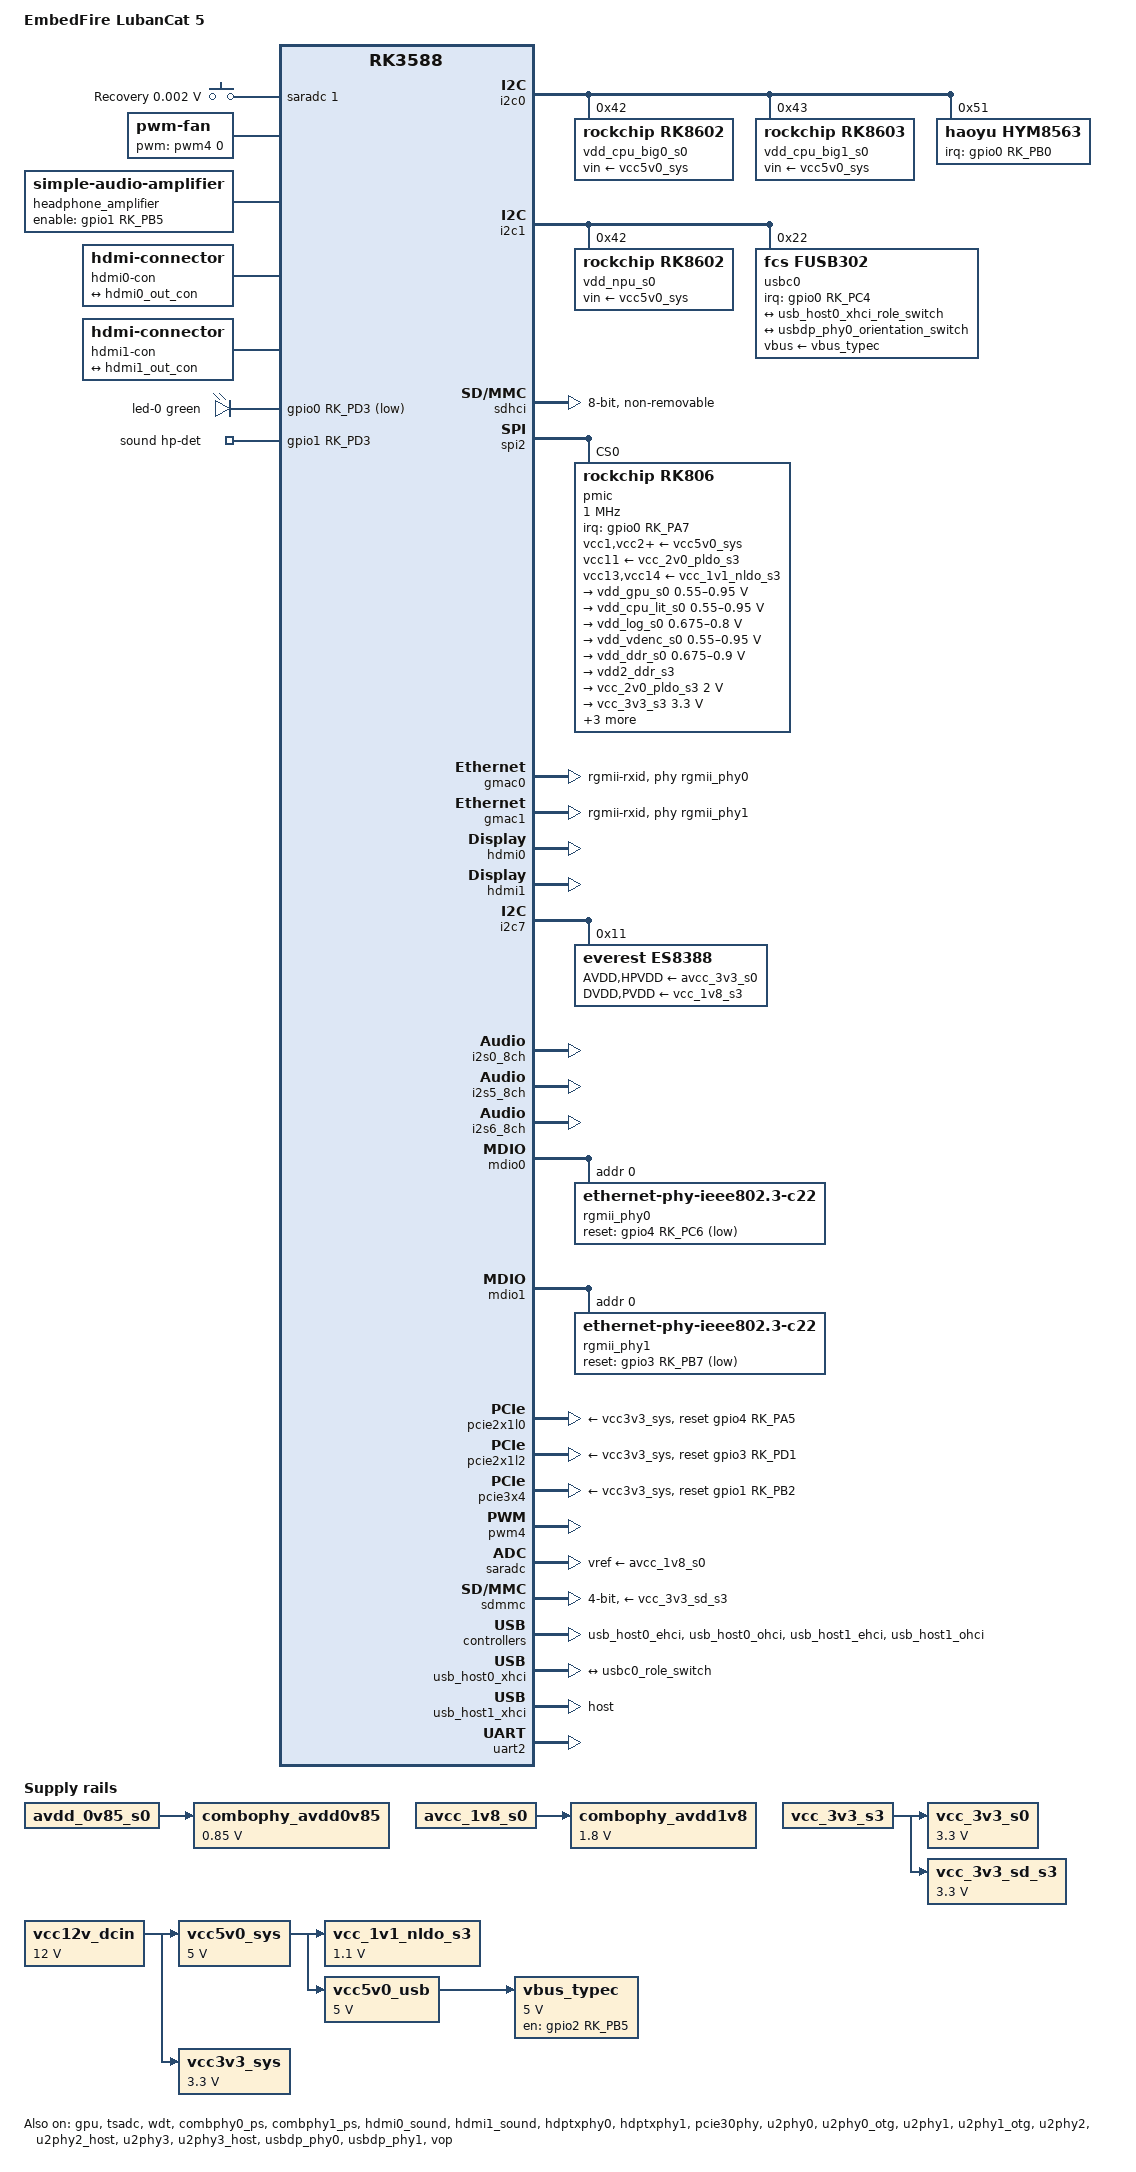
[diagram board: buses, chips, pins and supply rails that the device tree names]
// SPDX-License-Identifier: (GPL-2.0+ OR MIT)
/*
 * Copyright (c) 2021 Rockchip Electronics Co., Ltd.
 * Copyright (c) 2023 EmbedFire <embedfire@embedfire.com>
 * Copyright (c) 2025 Cunhao Lu <1579567540@qq.com>
 * Copyright (c) 2026 zixiai <78121660+zixiai@users.noreply.github.com>
 *
 * Board wiring is based on EmbedFire's LubanCat 5 BSP device tree and
 * the upstream LubanCat 5 BTB device-tree description.
 */

/dts-v1/;

#include <dt-bindings/gpio/gpio.h>
#include <dt-bindings/input/input.h>
#include <dt-bindings/leds/common.h>
#include <dt-bindings/soc/rockchip,vop2.h>
#include <dt-bindings/usb/pd.h>
#include "rk3588.dtsi"
/* BEGIN LUBANCAT-5 V1 BTB BACKPORT */
/*
 * This inlined section is derived from the Linux rockchip
 * rk3588-lubancat-5-btb.dtsi reference pinned by the FnNAS LubanCat-5
 * build metadata.  The standalone V1 carrier supplies the BTB core from
 * vcc5v0_sys.
 */
/ {

	aliases {
		mmc0 = &sdhci;
	};

	combophy_avdd0v85: regulator-combophy-avdd0v85 {
		compatible = "regulator-fixed";
		regulator-boot-on;
		regulator-max-microvolt = <850000>;
		regulator-min-microvolt = <850000>;
		regulator-name = "combophy_avdd0v85";
		vin-supply = <&avdd_0v85_s0>;
	};

	combophy_avdd1v8: regulator-combophy-avdd1v8 {
		compatible = "regulator-fixed";
		regulator-boot-on;
		regulator-max-microvolt = <1800000>;
		regulator-min-microvolt = <1800000>;
		regulator-name = "combophy_avdd1v8";
		vin-supply = <&avcc_1v8_s0>;
	};

	vcc_1v1_nldo_s3: regulator-vcc-1v1-nldo-s3 {
		compatible = "regulator-fixed";
		regulator-always-on;
		regulator-boot-on;
		regulator-max-microvolt = <1100000>;
		regulator-min-microvolt = <1100000>;
		regulator-name = "vcc_1v1_nldo_s3";
		vin-supply = <&vcc5v0_sys>;
	};
};

&cpu_b0 {
	cpu-supply = <&vdd_cpu_big0_s0>;
};

&cpu_b1 {
	cpu-supply = <&vdd_cpu_big0_s0>;
};

&cpu_b2 {
	cpu-supply = <&vdd_cpu_big1_s0>;
};

&cpu_b3 {
	cpu-supply = <&vdd_cpu_big1_s0>;
};

&cpu_l0 {
	cpu-supply = <&vdd_cpu_lit_s0>;
};

&cpu_l1 {
	cpu-supply = <&vdd_cpu_lit_s0>;
};

&cpu_l2 {
	cpu-supply = <&vdd_cpu_lit_s0>;
};

&cpu_l3 {
	cpu-supply = <&vdd_cpu_lit_s0>;
};

&gpu {
	mali-supply = <&vdd_gpu_s0>;
	status = "okay";
};

&i2c0 {
	pinctrl-0 = <&i2c0m2_xfer>;
	pinctrl-names = "default";
	status = "okay";

	vdd_cpu_big0_s0: regulator@42 {
		compatible = "rockchip,rk8602";
		reg = <0x42>;
		regulator-always-on;
		regulator-boot-on;
		regulator-max-microvolt = <1050000>;
		regulator-min-microvolt = <550000>;
		regulator-name = "vdd_cpu_big0_s0";
		regulator-ramp-delay = <2300>;
		vin-supply = <&vcc5v0_sys>;
		fcs,suspend-voltage-selector = <1>;

		regulator-state-mem {
			regulator-off-in-suspend;
		};
	};

	vdd_cpu_big1_s0: regulator@43 {
		compatible = "rockchip,rk8603", "rockchip,rk8602";
		reg = <0x43>;
		regulator-always-on;
		regulator-boot-on;
		regulator-max-microvolt = <1050000>;
		regulator-min-microvolt = <550000>;
		regulator-name = "vdd_cpu_big1_s0";
		regulator-ramp-delay = <2300>;
		vin-supply = <&vcc5v0_sys>;
		fcs,suspend-voltage-selector = <1>;

		regulator-state-mem {
			regulator-off-in-suspend;
		};
	};
};

&i2c1 {
	pinctrl-0 = <&i2c1m2_xfer>;
	pinctrl-names = "default";
	status = "okay";

	vdd_npu_s0: regulator@42 {
		compatible = "rockchip,rk8602";
		reg = <0x42>;
		regulator-boot-on;
		regulator-max-microvolt = <950000>;
		regulator-min-microvolt = <550000>;
		regulator-name = "vdd_npu_s0";
		regulator-ramp-delay = <2300>;
		vin-supply = <&vcc5v0_sys>;
		fcs,suspend-voltage-selector = <1>;

		regulator-state-mem {
			regulator-off-in-suspend;
		};
	};
};

&pd_gpu {
	domain-supply = <&vdd_gpu_s0>;
};

&pd_npu {
	domain-supply = <&vdd_npu_s0>;
};

&sdhci {
	bus-width = <8>;
	max-frequency = <200000000>;
	mmc-hs400-1_8v;
	mmc-hs400-enhanced-strobe;
	no-sd;
	no-sdio;
	non-removable;
	status = "okay";
};

&sfc {
	status = "disabled";
};

&spi2 {
	assigned-clock-rates = <200000000>;
	assigned-clocks = <&cru CLK_SPI2>;
	num-cs = <1>;
	pinctrl-0 = <&spi2m2_cs0 &spi2m2_pins>;
	pinctrl-names = "default";
	status = "okay";

	pmic@0 {
		compatible = "rockchip,rk806";
		reg = <0x0>;
		#gpio-cells = <2>;
		gpio-controller;
		interrupt-parent = <&gpio0>;
		interrupts = <RK_PA7 IRQ_TYPE_LEVEL_LOW>;
		pinctrl-0 = <&pmic_pins>, <&rk806_dvs1_null>,
			    <&rk806_dvs2_null>, <&rk806_dvs3_null>;
		pinctrl-names = "default";
		spi-max-frequency = <1000000>;
		system-power-controller;

		vcc1-supply = <&vcc5v0_sys>;
		vcc2-supply = <&vcc5v0_sys>;
		vcc3-supply = <&vcc5v0_sys>;
		vcc4-supply = <&vcc5v0_sys>;
		vcc5-supply = <&vcc5v0_sys>;
		vcc6-supply = <&vcc5v0_sys>;
		vcc7-supply = <&vcc5v0_sys>;
		vcc8-supply = <&vcc5v0_sys>;
		vcc9-supply = <&vcc5v0_sys>;
		vcc10-supply = <&vcc5v0_sys>;
		vcc11-supply = <&vcc_2v0_pldo_s3>;
		vcc12-supply = <&vcc5v0_sys>;
		vcc13-supply = <&vcc_1v1_nldo_s3>;
		vcc14-supply = <&vcc_1v1_nldo_s3>;
		vcca-supply = <&vcc5v0_sys>;

		rk806_dvs1_null: dvs1-null-pins {
			function = "pin_fun0";
			pins = "gpio_pwrctrl1";
		};

		rk806_dvs2_null: dvs2-null-pins {
			function = "pin_fun0";
			pins = "gpio_pwrctrl2";
		};

		rk806_dvs3_null: dvs3-null-pins {
			function = "pin_fun0";
			pins = "gpio_pwrctrl3";
		};

		regulators {
			vdd_gpu_s0: vdd_gpu_mem_s0: dcdc-reg1 {
				regulator-boot-on;
				regulator-enable-ramp-delay = <400>;
				regulator-max-microvolt = <950000>;
				regulator-min-microvolt = <550000>;
				regulator-name = "vdd_gpu_s0";
				regulator-ramp-delay = <12500>;

				regulator-state-mem {
					regulator-off-in-suspend;
				};
			};

			vdd_cpu_lit_s0: dcdc-reg2 {
				regulator-always-on;
				regulator-boot-on;
				regulator-max-microvolt = <950000>;
				regulator-min-microvolt = <550000>;
				regulator-name = "vdd_cpu_lit_s0";
				regulator-ramp-delay = <12500>;

				regulator-state-mem {
					regulator-off-in-suspend;
				};
			};

			vdd_log_s0: dcdc-reg3 {
				regulator-always-on;
				regulator-boot-on;
				regulator-max-microvolt = <800000>;
				regulator-min-microvolt = <675000>;
				regulator-name = "vdd_log_s0";
				regulator-ramp-delay = <12500>;

				regulator-state-mem {
					regulator-off-in-suspend;
					regulator-suspend-microvolt = <750000>;
				};
			};

			vdd_vdenc_s0: vdd_vdenc_mem_s0: dcdc-reg4 {
				regulator-always-on;
				regulator-boot-on;
				regulator-max-microvolt = <950000>;
				regulator-min-microvolt = <550000>;
				regulator-name = "vdd_vdenc_s0";
				regulator-ramp-delay = <12500>;

				regulator-state-mem {
					regulator-off-in-suspend;
				};
			};

			vdd_ddr_s0: dcdc-reg5 {
				regulator-always-on;
				regulator-boot-on;
				regulator-max-microvolt = <900000>;
				regulator-min-microvolt = <675000>;
				regulator-name = "vdd_ddr_s0";
				regulator-ramp-delay = <12500>;

				regulator-state-mem {
					regulator-off-in-suspend;
					regulator-suspend-microvolt = <850000>;
				};
			};

			vdd2_ddr_s3: dcdc-reg6 {
				regulator-always-on;
				regulator-boot-on;
				regulator-name = "vdd2_ddr_s3";

				regulator-state-mem {
					regulator-on-in-suspend;
				};
			};

			vcc_2v0_pldo_s3: dcdc-reg7 {
				regulator-always-on;
				regulator-boot-on;
				regulator-max-microvolt = <2000000>;
				regulator-min-microvolt = <2000000>;
				regulator-name = "vcc_2v0_pldo_s3";
				regulator-ramp-delay = <12500>;

				regulator-state-mem {
					regulator-on-in-suspend;
					regulator-suspend-microvolt = <2000000>;
				};
			};

			vcc_3v3_s3: dcdc-reg8 {
				regulator-always-on;
				regulator-boot-on;
				regulator-max-microvolt = <3300000>;
				regulator-min-microvolt = <3300000>;
				regulator-name = "vcc_3v3_s3";

				regulator-state-mem {
					regulator-on-in-suspend;
					regulator-suspend-microvolt = <3300000>;
				};
			};

			vddq_ddr_s0: dcdc-reg9 {
				regulator-always-on;
				regulator-boot-on;
				regulator-name = "vddq_ddr_s0";

				regulator-state-mem {
					regulator-off-in-suspend;
				};
			};

			vcc_1v8_s3: dcdc-reg10 {
				regulator-always-on;
				regulator-boot-on;
				regulator-max-microvolt = <1800000>;
				regulator-min-microvolt = <1800000>;
				regulator-name = "vcc_1v8_s3";

				regulator-state-mem {
					regulator-on-in-suspend;
					regulator-suspend-microvolt = <1800000>;
				};
			};

			vdd_0v75_s3: nldo-reg1 {
				regulator-always-on;
				regulator-boot-on;
				regulator-max-microvolt = <750000>;
				regulator-min-microvolt = <750000>;
				regulator-name = "vdd_0v75_s3";

				regulator-state-mem {
					regulator-on-in-suspend;
					regulator-suspend-microvolt = <750000>;
				};
			};

			avdd_ddr_pll_s0: nldo-reg2 {
				regulator-always-on;
				regulator-boot-on;
				regulator-max-microvolt = <850000>;
				regulator-min-microvolt = <850000>;
				regulator-name = "avdd_ddr_pll_s0";

				regulator-state-mem {
					regulator-off-in-suspend;
					regulator-suspend-microvolt = <850000>;
				};
			};

			avdd_0v75_s0: nldo-reg3 {
				regulator-always-on;
				regulator-boot-on;
				regulator-max-microvolt = <837500>;
				regulator-min-microvolt = <837500>;
				regulator-name = "avdd_0v75_s0";

				regulator-state-mem {
					regulator-off-in-suspend;
				};
			};

			avdd_0v85_s0: nldo-reg4 {
				regulator-always-on;
				regulator-boot-on;
				regulator-max-microvolt = <850000>;
				regulator-min-microvolt = <850000>;
				regulator-name = "avdd_0v85_s0";

				regulator-state-mem {
					regulator-off-in-suspend;
				};
			};

			vdd_0v75_s0: nldo-reg5 {
				regulator-always-on;
				regulator-boot-on;
				regulator-max-microvolt = <750000>;
				regulator-min-microvolt = <750000>;
				regulator-name = "vdd_0v75_s0";

				regulator-state-mem {
					regulator-off-in-suspend;
				};
			};

			avcc_1v8_s0: pldo-reg1 {
				regulator-always-on;
				regulator-boot-on;
				regulator-max-microvolt = <1800000>;
				regulator-min-microvolt = <1800000>;
				regulator-name = "avcc_1v8_s0";

				regulator-state-mem {
					regulator-on-in-suspend;
					regulator-suspend-microvolt = <1800000>;
				};
			};

			vcc_1v8_s0: pldo-reg2 {
				regulator-always-on;
				regulator-boot-on;
				regulator-max-microvolt = <1800000>;
				regulator-min-microvolt = <1800000>;
				regulator-name = "vcc_1v8_s0";

				regulator-state-mem {
					regulator-off-in-suspend;
					regulator-suspend-microvolt = <1800000>;
				};
			};

			avdd_1v2_s0: pldo-reg3 {
				regulator-always-on;
				regulator-boot-on;
				regulator-max-microvolt = <1200000>;
				regulator-min-microvolt = <1200000>;
				regulator-name = "avdd_1v2_s0";

				regulator-state-mem {
					regulator-off-in-suspend;
				};
			};

			avcc_3v3_s0: pldo-reg4 {
				regulator-always-on;
				regulator-boot-on;
				regulator-max-microvolt = <3300000>;
				regulator-min-microvolt = <3300000>;
				regulator-name = "avcc_3v3_s0";
				regulator-ramp-delay = <12500>;

				regulator-state-mem {
					regulator-off-in-suspend;
				};
			};

			vccio_sd_s0: pldo-reg5 {
				regulator-always-on;
				regulator-boot-on;
				regulator-max-microvolt = <3300000>;
				regulator-min-microvolt = <1800000>;
				regulator-name = "vccio_sd_s0";
				regulator-ramp-delay = <12500>;

				regulator-state-mem {
					regulator-off-in-suspend;
				};
			};

			pldo6_s3: pldo-reg6 {
				regulator-always-on;
				regulator-boot-on;
				regulator-max-microvolt = <1800000>;
				regulator-min-microvolt = <1800000>;
				regulator-name = "pldo6_s3";

				regulator-state-mem {
					regulator-on-in-suspend;
					regulator-suspend-microvolt = <1800000>;
				};
			};
		};
	};
};

&tsadc {
	status = "okay";
};

&wdt {
	status = "okay";
};
/* END LUBANCAT-5 V1 BTB BACKPORT */

#include "rk3588s-ip.dtsi"
#include "rk3588s-ip-supply.dtsi"

/ {
	model = "EmbedFire LubanCat 5";
	compatible = "embedfire,lubancat-5", "embedfire,lubancat-5-btb",
		     "rockchip,rk3588";

	aliases {
		ethernet0 = &gmac0;
		ethernet1 = &gmac1;
		mmc1 = &sdmmc;
		rtc0 = &hym8563;
		serial2 = &uart2;
	};

	chosen {
		stdout-path = "serial2:1500000n8";
	};

	adc-keys {
		compatible = "adc-keys";
		io-channels = <&saradc 1>;
		io-channel-names = "buttons";
		keyup-threshold-microvolt = <1800000>;
		poll-interval = <100>;

		button-recovery {
			label = "Recovery";
			linux,code = <KEY_VENDOR>;
			press-threshold-microvolt = <1750>;
		};
	};

	/*
	 * PWM4 M0 matches the LubanCat V1 wiring.  The period, levels and
	 * start pulse are based on V1 hardware tests with its two-wire fan.
	 * Minimum starting duty and speed response may vary between fans.
	 */
	fan: pwm-fan {
		compatible = "pwm-fan";
		#cooling-cells = <2>;
		cooling-levels = <0 130 160 190 200>;
		fan-stop-to-start-percent = <79>;
		fan-stop-to-start-us = <200000>;
		pwms = <&pwm4 0 50000 0>;
	};

	headphone_amplifier: headphone-amplifier {
		compatible = "simple-audio-amplifier";
		enable-gpios = <&gpio1 RK_PB5 GPIO_ACTIVE_HIGH>;
		pinctrl-0 = <&headphone_amp_enable>;
		pinctrl-names = "default";
		sound-name-prefix = "Headphone Amplifier";
	};

	hdmi0-con {
		compatible = "hdmi-connector";
		type = "a";

		port {
			hdmi0_con_in: endpoint {
				remote-endpoint = <&hdmi0_out_con>;
			};
		};
	};

	hdmi1-con {
		compatible = "hdmi-connector";
		type = "a";

		port {
			hdmi1_con_in: endpoint {
				remote-endpoint = <&hdmi1_out_con>;
			};
		};
	};

	leds {
		compatible = "gpio-leds";
		pinctrl-0 = <&sys_led_pin>;
		pinctrl-names = "default";

		led-0 {
			color = <LED_COLOR_ID_GREEN>;
			function = LED_FUNCTION_STATUS;
			gpios = <&gpio0 RK_PD3 GPIO_ACTIVE_LOW>;
			linux,default-trigger = "heartbeat";
		};
	};

	sound {
		compatible = "simple-audio-card";
		pinctrl-0 = <&headphone_detect>;
		pinctrl-names = "default";
		simple-audio-card,aux-devs = <&headphone_amplifier>;
		simple-audio-card,format = "i2s";
		simple-audio-card,hp-det-gpios =
			<&gpio1 RK_PD3 GPIO_ACTIVE_HIGH>;
		simple-audio-card,mclk-fs = <256>;
		simple-audio-card,name = "rk3588-es8388";
		simple-audio-card,pin-switches = "Headphones", "Main Mic",
						 "Headset Mic";
		simple-audio-card,routing =
			"Headphone Amplifier INL", "LOUT1",
			"Headphone Amplifier INR", "ROUT1",
			"Headphones", "Headphone Amplifier OUTL",
			"Headphones", "Headphone Amplifier OUTR",
			"LINPUT1", "Main Mic",
			"LINPUT2", "Main Mic",
			"RINPUT1", "Headset Mic",
			"RINPUT2", "Headset Mic";
		simple-audio-card,widgets =
			"Microphone", "Main Mic",
			"Microphone", "Headset Mic",
			"Headphone", "Headphones";

		simple-audio-card,cpu {
			sound-dai = <&i2s0_8ch>;
		};

		simple-audio-card,codec {
			sound-dai = <&es8388>;
			system-clock-frequency = <12288000>;
		};
	};

	vcc12v_dcin: regulator-vcc12v-dcin {
		compatible = "regulator-fixed";
		regulator-always-on;
		regulator-boot-on;
		regulator-max-microvolt = <12000000>;
		regulator-min-microvolt = <12000000>;
		regulator-name = "vcc12v_dcin";
	};

	vcc5v0_sys: regulator-vcc5v0-sys {
		compatible = "regulator-fixed";
		regulator-always-on;
		regulator-boot-on;
		regulator-max-microvolt = <5000000>;
		regulator-min-microvolt = <5000000>;
		regulator-name = "vcc5v0_sys";
		vin-supply = <&vcc12v_dcin>;
	};

	vcc3v3_sys: regulator-vcc3v3-sys {
		compatible = "regulator-fixed";
		regulator-always-on;
		regulator-boot-on;
		regulator-max-microvolt = <3300000>;
		regulator-min-microvolt = <3300000>;
		regulator-name = "vcc3v3_sys";
		vin-supply = <&vcc12v_dcin>;
	};

	vcc5v0_usb: regulator-vcc5v0-usb {
		compatible = "regulator-fixed";
		regulator-always-on;
		regulator-boot-on;
		regulator-max-microvolt = <5000000>;
		regulator-min-microvolt = <5000000>;
		regulator-name = "vcc5v0_usb";
		vin-supply = <&vcc5v0_sys>;
	};

	vbus_typec: regulator-vbus-typec {
		compatible = "regulator-fixed";
		enable-active-high;
		gpios = <&gpio2 RK_PB5 GPIO_ACTIVE_HIGH>;
		pinctrl-0 = <&typec_vbus_enable>;
		pinctrl-names = "default";
		regulator-max-microvolt = <5000000>;
		regulator-min-microvolt = <5000000>;
		regulator-name = "vbus_typec";
		vin-supply = <&vcc5v0_usb>;
	};

	vcc_3v3_s0: regulator-vcc-3v3-s0 {
		compatible = "regulator-fixed";
		regulator-always-on;
		regulator-boot-on;
		regulator-max-microvolt = <3300000>;
		regulator-min-microvolt = <3300000>;
		regulator-name = "vcc_3v3_s0";
		vin-supply = <&vcc_3v3_s3>;
	};

	vcc_3v3_sd_s3: regulator-vcc-3v3-sd-s3 {
		compatible = "regulator-fixed";
		regulator-always-on;
		regulator-boot-on;
		regulator-max-microvolt = <3300000>;
		regulator-min-microvolt = <3300000>;
		regulator-name = "vcc_3v3_sd_s3";
		vin-supply = <&vcc_3v3_s3>;
	};
};

&rkvenc1_mmu {
	/delete-property/ lock-names;
	clock-names = "aclk", "iface";
};

/* The packaged kernel does not provide an RK3588 crypto driver. */
&crypto {
	status = "disabled";
};

/* Reuse the base SRAM pools instead of overlapping BSP duplicates. */
&system_sram2 {
	/delete-node/ rkvdec-sram@0;
	/delete-node/ rkvdec-sram@78000;
};

&rkvdec0 {
	rockchip,sram = <&vdec0_sram>;
};

&rkvdec1 {
	rockchip,sram = <&vdec1_sram>;
};

&combphy0_ps {
	status = "okay";
};

&combphy1_ps {
	status = "okay";
};

&gmac0 {
	clock_in_out = "output";
	phy-handle = <&rgmii_phy0>;
	/* The PHY supplies RX delay; the controller supplies the TX delay. */
	phy-mode = "rgmii-rxid";
	pinctrl-0 = <&gmac0_miim &gmac0_tx_bus2 &gmac0_rx_bus2
		     &gmac0_rgmii_clk &gmac0_rgmii_bus>;
	pinctrl-names = "default";
	tx_delay = <0x20>;
	status = "okay";
};

&gmac1 {
	clock_in_out = "output";
	phy-handle = <&rgmii_phy1>;
	/* The PHY supplies RX delay; the controller supplies the TX delay. */
	phy-mode = "rgmii-rxid";
	pinctrl-0 = <&gmac1_miim &gmac1_tx_bus2 &gmac1_rx_bus2
		     &gmac1_rgmii_clk &gmac1_rgmii_bus>;
	pinctrl-names = "default";
	tx_delay = <0x20>;
	status = "okay";
};

&hdmi0 {
	frl-enable-gpios = <&gpio1 RK_PC4 GPIO_ACTIVE_LOW>;
	pinctrl-0 = <&hdmim0_tx0_cec &hdmim0_tx0_hpd
		    &hdmim0_tx0_scl &hdmim0_tx0_sda>;
	pinctrl-names = "default";
	status = "okay";
};

&hdmi0_in {
	hdmi0_in_vp0: endpoint {
		remote-endpoint = <&vp0_out_hdmi0>;
	};
};

&hdmi0_out {
	hdmi0_out_con: endpoint {
		remote-endpoint = <&hdmi0_con_in>;
	};
};

&hdmi0_sound {
	status = "okay";
};

&hdmi1 {
	frl-enable-gpios = <&gpio1 RK_PC6 GPIO_ACTIVE_LOW>;
	status = "okay";
};

&hdmi1_in {
	hdmi1_in_vp1: endpoint {
		remote-endpoint = <&vp1_out_hdmi1>;
	};
};

&hdmi1_out {
	hdmi1_out_con: endpoint {
		remote-endpoint = <&hdmi1_con_in>;
	};
};

&hdmi1_sound {
	status = "okay";
};

&hdptxphy0 {
	status = "okay";
};

&hdptxphy1 {
	status = "okay";
};

&i2c0 {
	hym8563: rtc@51 {
		compatible = "haoyu,hym8563";
		reg = <0x51>;
		#clock-cells = <0>;
		clock-output-names = "hym8563";
		interrupt-parent = <&gpio0>;
		interrupts = <RK_PB0 IRQ_TYPE_LEVEL_LOW>;
		pinctrl-0 = <&hym8563_int>;
		pinctrl-names = "default";
		wakeup-source;
	};
};

&i2c1 {
	status = "okay";

	usbc0: usb-typec@22 {
		compatible = "fcs,fusb302";
		reg = <0x22>;
		interrupt-parent = <&gpio0>;
		interrupts = <RK_PC4 IRQ_TYPE_LEVEL_LOW>;
		pinctrl-0 = <&usbc0_interrupt>;
		pinctrl-names = "default";
		vbus-supply = <&vbus_typec>;

		connector {
			compatible = "usb-c-connector";
			data-role = "dual";
			label = "USB-C";
			op-sink-microwatt = <1000000>;
			power-role = "dual";
			sink-pdos = <PDO_FIXED(5000, 1000, PDO_FIXED_USB_COMM)>;
			source-pdos = <PDO_FIXED(5000, 3000, PDO_FIXED_USB_COMM)>;
			try-power-role = "sink";

			ports {
				#address-cells = <1>;
				#size-cells = <0>;

				port@0 {
					reg = <0>;

					usbc0_role_switch: endpoint {
						remote-endpoint = <&usb_host0_xhci_role_switch>;
					};
				};

				port@1 {
					reg = <1>;

					usbc0_orientation_switch: endpoint {
						remote-endpoint = <&usbdp_phy0_orientation_switch>;
					};
				};
			};
		};
	};
};

&i2c7 {
	pinctrl-0 = <&i2c7m0_xfer>;
	pinctrl-names = "default";
	status = "okay";

	es8388: audio-codec@11 {
		compatible = "everest,es8388", "everest,es8328";
		reg = <0x11>;
		AVDD-supply = <&avcc_3v3_s0>;
		DVDD-supply = <&vcc_1v8_s3>;
		HPVDD-supply = <&avcc_3v3_s0>;
		PVDD-supply = <&vcc_1v8_s3>;
		assigned-clock-rates = <12288000>;
		assigned-clocks = <&cru I2S0_8CH_MCLKOUT_TO_IO>;
		clocks = <&cru I2S0_8CH_MCLKOUT_TO_IO>;
		#sound-dai-cells = <0>;
	};
};

&i2s0_8ch {
	pinctrl-0 = <&i2s0_lrck
		    &i2s0_mclk
		    &i2s0_sclk
		    &i2s0_sdi0
		    &i2s0_sdo0>;
	pinctrl-names = "default";
	status = "okay";
};

&i2s5_8ch {
	status = "okay";
};

&i2s6_8ch {
	status = "okay";
};

&mdio0 {
	rgmii_phy0: ethernet-phy@0 {
		compatible = "ethernet-phy-ieee802.3-c22";
		reg = <0>;
		reset-assert-us = <20000>;
		reset-deassert-us = <100000>;
		reset-gpios = <&gpio4 RK_PC6 GPIO_ACTIVE_LOW>;
	};
};

&mdio1 {
	rgmii_phy1: ethernet-phy@0 {
		compatible = "ethernet-phy-ieee802.3-c22";
		reg = <0>;
		reset-assert-us = <20000>;
		reset-deassert-us = <100000>;
		reset-gpios = <&gpio3 RK_PB7 GPIO_ACTIVE_LOW>;
	};
};

/* M.2 E-Key (Wi-Fi/BT). */
&pcie2x1l0 {
	reset-gpios = <&gpio4 RK_PA5 GPIO_ACTIVE_HIGH>;
	vpcie3v3-supply = <&vcc3v3_sys>;
	status = "okay";
};

/* Mini-PCIe. */
&pcie2x1l2 {
	reset-gpios = <&gpio3 RK_PD1 GPIO_ACTIVE_HIGH>;
	vpcie3v3-supply = <&vcc3v3_sys>;
	status = "okay";
};

&pcie30phy {
	data-lanes = <1 1 1 1>;
	status = "okay";
};

/* M.2 M-Key (NVMe). */
&pcie3x4 {
	reset-gpios = <&gpio1 RK_PB2 GPIO_ACTIVE_HIGH>;
	vpcie3v3-supply = <&vcc3v3_sys>;
	status = "okay";
};

&package_thermal {
	polling-delay = <1000>;

	trips {
		package_fan0: package-fan0 {
			temperature = <40000>;
			hysteresis = <3000>;
			type = "active";
		};

		package_fan1: package-fan1 {
			temperature = <50000>;
			hysteresis = <3000>;
			type = "active";
		};

		package_fan2: package-fan2 {
			temperature = <60000>;
			hysteresis = <3000>;
			type = "active";
		};

		package_fan3: package-fan3 {
			temperature = <70000>;
			hysteresis = <3000>;
			type = "active";
		};
	};

	cooling-maps {
		map0 {
			trip = <&package_fan0>;
			cooling-device = <&fan 1 1>;
		};

		map1 {
			trip = <&package_fan1>;
			cooling-device = <&fan 2 2>;
		};

		map2 {
			trip = <&package_fan2>;
			cooling-device = <&fan 3 3>;
		};

		map3 {
			trip = <&package_fan3>;
			cooling-device = <&fan 4 4>;
		};
	};
};

&pinctrl {
	audio {
		headphone_amp_enable: headphone-amp-enable {
			rockchip,pins = <1 RK_PB5 RK_FUNC_GPIO &pcfg_pull_none>;
		};

		headphone_detect: headphone-detect {
			rockchip,pins = <1 RK_PD3 RK_FUNC_GPIO &pcfg_pull_none>;
		};
	};

	hym8563 {
		hym8563_int: hym8563-int {
			rockchip,pins = <0 RK_PB0 RK_FUNC_GPIO &pcfg_pull_up>;
		};
	};

	leds {
		sys_led_pin: sys-led-pin {
			rockchip,pins = <0 RK_PD3 RK_FUNC_GPIO &pcfg_pull_none>;
		};
	};

	usb-typec {
		typec_vbus_enable: typec-vbus-enable {
			rockchip,pins = <2 RK_PB5 RK_FUNC_GPIO &pcfg_pull_none>;
		};

		usbc0_interrupt: usbc0-interrupt {
			rockchip,pins = <0 RK_PC4 RK_FUNC_GPIO &pcfg_pull_up>;
		};
	};
};

&pwm4 {
	pinctrl-0 = <&pwm4m0_pins>;
	pinctrl-names = "default";
	status = "okay";
};

&saradc {
	vref-supply = <&avcc_1v8_s0>;
	status = "okay";
};

/* TF card; eMMC is enabled by the inlined V1 BTB power/PMIC section. */
&sdmmc {
	bus-width = <4>;
	cap-mmc-highspeed;
	cap-sd-highspeed;
	disable-wp;
	max-frequency = <200000000>;
	no-mmc;
	no-sdio;
	pinctrl-0 = <&sdmmc_bus4 &sdmmc_clk &sdmmc_cmd &sdmmc_det>;
	pinctrl-names = "default";
	sd-uhs-sdr104;
	vmmc-supply = <&vcc_3v3_sd_s3>;
	vqmmc-supply = <&vccio_sd_s0>;
	status = "okay";
};

&u2phy0 {
	status = "okay";
};

&u2phy0_otg {
	status = "okay";
};

&u2phy1 {
	status = "okay";
};

&u2phy1_otg {
	phy-supply = <&vcc5v0_usb>;
	status = "okay";
};

&u2phy2 {
	status = "okay";
};

&u2phy2_host {
	phy-supply = <&vcc5v0_usb>;
	status = "okay";
};

&u2phy3 {
	status = "okay";
};

&u2phy3_host {
	phy-supply = <&vcc5v0_usb>;
	status = "okay";
};

&usbdp_phy0 {
	orientation-switch;
	status = "okay";

	port {
		usbdp_phy0_orientation_switch: endpoint {
			remote-endpoint = <&usbc0_orientation_switch>;
		};
	};
};

&usbdp_phy1 {
	status = "okay";
};

&usb_host0_ehci {
	status = "okay";
};

&usb_host0_ohci {
	status = "okay";
};

&usb_host0_xhci {
	usb-role-switch;
	status = "okay";

	port {
		usb_host0_xhci_role_switch: endpoint {
			remote-endpoint = <&usbc0_role_switch>;
		};
	};
};

&usb_host1_ehci {
	status = "okay";
};

&usb_host1_ohci {
	status = "okay";
};

&usb_host1_xhci {
	dr_mode = "host";
	status = "okay";
};

&uart2 {
	pinctrl-0 = <&uart2m0_xfer>;
	pinctrl-names = "default";
	status = "okay";
};

&vop {
	status = "okay";
};

&vop_mmu {
	status = "okay";
};

&vp0 {
	vp0_out_hdmi0: endpoint@ROCKCHIP_VOP2_EP_HDMI0 {
		reg = <ROCKCHIP_VOP2_EP_HDMI0>;
		remote-endpoint = <&hdmi0_in_vp0>;
	};
};

&vp1 {
	vp1_out_hdmi1: endpoint@ROCKCHIP_VOP2_EP_HDMI1 {
		reg = <ROCKCHIP_VOP2_EP_HDMI1>;
		remote-endpoint = <&hdmi1_in_vp1>;
	};
};

&wdt {
	status = "okay";
};
